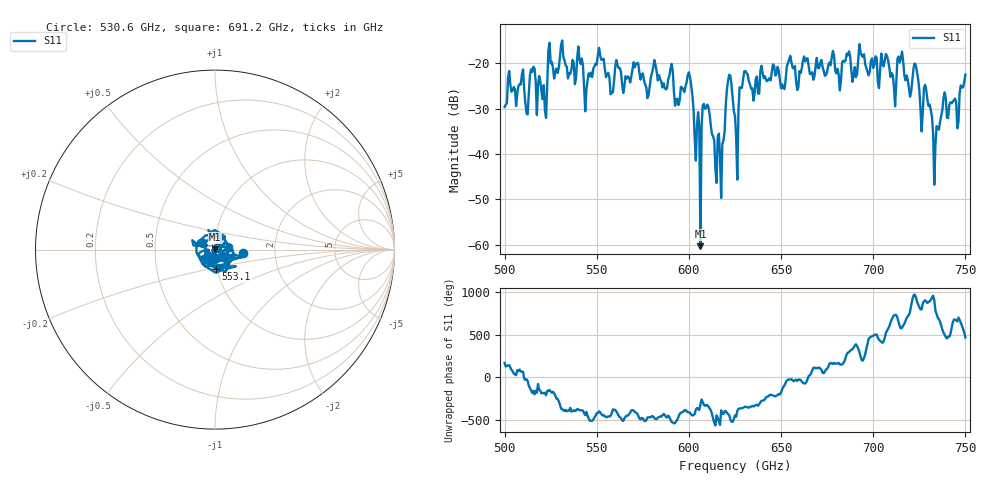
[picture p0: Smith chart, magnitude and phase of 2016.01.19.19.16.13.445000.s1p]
!Created with skrf (http://scikit-rf.org).
# GHz S RI R 50.0
!freq ReS11 ImS11
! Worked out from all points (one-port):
!   401 points, 500 GHz to 750 GHz, reference 50 ohm
!   lowest |S11| = -60.4 dB at 606.2 GHz (marker M1), VSWR 1.00, Z = 50.1 + j0.064 ohm
!   |S11| at or under -10 dB: start of sweep to end of sweep
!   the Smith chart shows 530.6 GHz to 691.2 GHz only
!   S11 on the Smith chart (normalised r, x): 530.6 GHz: 1.37, -0.06; 553.1 GHz: 0.99, -0.22; 691.2 GHz: 1.16, +0.02
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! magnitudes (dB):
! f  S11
! 500 GHz  -29.6
! 508.8 GHz  -24.7
! 511.9 GHz  -31.0
! 515 GHz  -21.9
! 521.2 GHz  -24.8
! 525 GHz  -20.0
! 530.6 GHz  -16.0
! 531.2 GHz  -15.0
! 544.4 GHz  -25.8
! 553.1 GHz  -19.2
! 562.5 GHz  -21.0
! 590 GHz  -21.2
! 593.8 GHz  -27.8
! 600 GHz  -22.0
! 605 GHz  -30.8
! 606.2 GHz  -60.4
! 609.4 GHz  -29.8
! 616.2 GHz  -35.5
! 621.9 GHz  -22.5
! 625 GHz  -31.6
! 630.6 GHz  -21.7
! 656.2 GHz  -20.9
! 687.5 GHz  -18.6
! 691.2 GHz  -22.4
! 718.8 GHz  -23.6
! 723.1 GHz  -20.4
! 733.8 GHz  -37.9
! 750 GHz  -22.5
